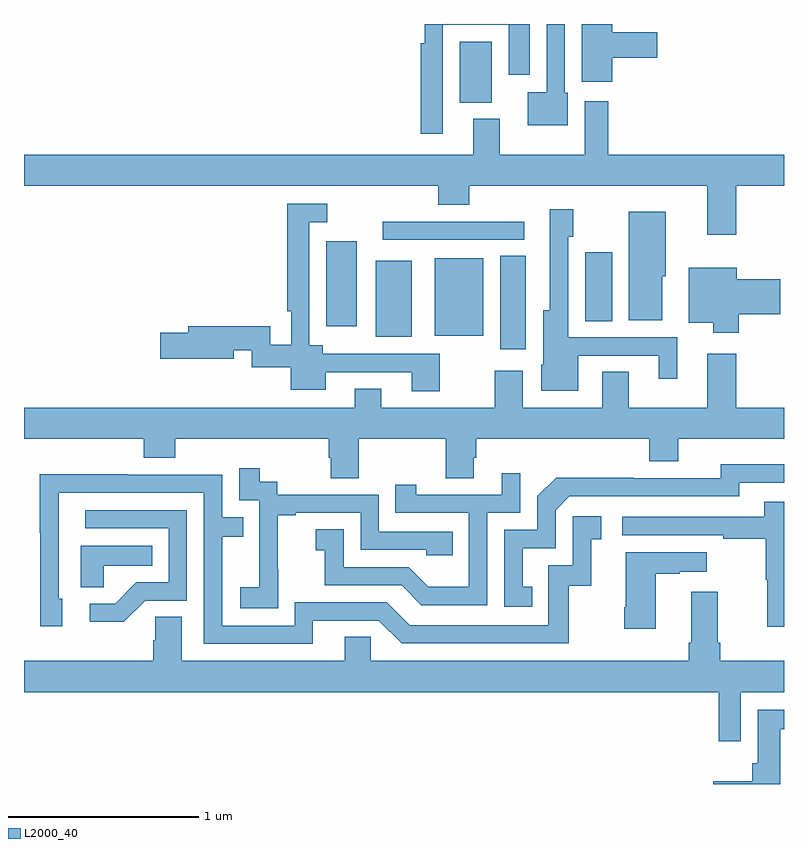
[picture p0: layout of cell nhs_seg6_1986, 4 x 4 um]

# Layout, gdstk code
import gdstk
lib = gdstk.Library(unit=1e-6, precision=1e-09)
def R(c, l, rs):  # rectangles x0, y0, x1, y1
    for r in rs: c.add(gdstk.rectangle(r[:2], r[2:], *l))
def P(c, l, *ps):  # polygons
    for p in ps: c.add(gdstk.Polygon(p, *l))
L2000_40 = (2000, 40)

nhs_seg6_1986 = lib.new_cell('nhs_seg6_1986')
R(nhs_seg6_1986, L2000_40, [(231.506,967.788,231.64,968.279), (230.852,967.853,231.04,968.254), (231.161,967.859,231.418,968.266), (230.591,967.908,230.752,968.356), (231.953,967.936,232.096,968.299), (230.889,968.364,231.634,968.46), (231.293,969.086,231.463,969.406)])
P(nhs_seg6_1986, L2000_40, [(231.862,969.138),(231.846,969.138),(231.846,969.5),(231.75,969.5),(231.75,969.142),(231.65,969.142),(231.65,968.966),(231.862,968.966)],
  [(232.097,969.323),(232.333,969.323),(232.333,969.457),(232.097,969.457),(232.097,969.5),(231.935,969.5),(231.935,969.195),(232.097,969.195)],
  [(231.204,969.495),(231.551,969.495),(231.551,969.234),(231.661,969.234),(231.661,969.5),(231.108,969.5),(231.108,969.398),(231.088,969.398),(231.088,968.922),(231.204,968.922)],
  [(232.748,968.648),(233,968.648),(233,968.812),(232.076,968.812),(232.076,969.094),(231.95,969.094),(231.95,968.812),(231.505,968.812),(231.505,969.001),(231.365,969.001),(231.365,968.812),(229,968.812),(229,968.648),(231.179,968.648),(231.179,968.549),(231.344,968.549),(231.344,968.648),(232.595,968.648),(232.595,968.391),(232.748,968.391)],
  [(231.189,967.764),(230.572,967.764),(230.572,967.81),(230.502,967.81),(230.502,968.457),(230.596,968.457),(230.596,968.553),(230.386,968.553),(230.386,967.988),(230.406,967.988),(230.406,967.811),(230.295,967.811),(230.295,967.91),(229.865,967.91),(229.865,967.874),(229.716,967.874),(229.716,967.739),(230.104,967.739),(230.104,967.782),(230.199,967.782),(230.199,967.694),(230.405,967.694),(230.405,967.574),(230.587,967.574),(230.587,967.668),(231.041,967.668),(231.041,967.566),(231.189,967.566)],
  [(231.916,967.755),(232.34,967.755),(232.34,967.632),(232.438,967.632),(232.438,967.851),(231.864,967.851),(231.864,968.379),(231.891,968.379),(231.891,968.524),(231.768,968.524),(231.768,967.993),(231.734,967.993),(231.734,967.707),(231.722,967.707),(231.722,967.571),(231.916,967.571)],
  [(232.36,968.172),(232.378,968.172),(232.378,968.512),(232.184,968.512),(232.184,967.94),(232.36,967.94)],
  [(232.763,967.973),(232.981,967.973),(232.981,968.156),(232.75,968.156),(232.75,968.218),(232.499,968.218),(232.499,967.928),(232.628,967.928),(232.628,967.874),(232.763,967.874)],
  [(230.763,967.316),(231.22,967.316),(231.22,967.108),(231.367,967.108),(231.367,967.218),(231.38,967.218),(231.38,967.316),(232.292,967.316),(232.292,967.199),(232.444,967.199),(232.444,967.316),(233,967.316),(233,967.48),(232.748,967.48),(232.748,967.765),(232.595,967.765),(232.595,967.48),(232.183,967.48),(232.183,967.67),(232.043,967.67),(232.043,967.48),(231.625,967.48),(231.625,967.675),(231.478,967.675),(231.478,967.48),(230.881,967.48),(230.881,967.579),(230.741,967.579),(230.741,967.48),(229,967.48),(229,967.316),(229.631,967.316),(229.631,967.217),(229.796,967.217),(229.796,967.316),(230.603,967.316),(230.603,967.218),(230.615,967.218),(230.615,967.108),(230.763,967.108)],
  [(231.674,966.537),(231.625,966.537),(231.625,966.741),(231.798,966.741),(231.798,966.942),(231.87,967.014),(232.764,967.014),(232.764,967.086),(233,967.086),(233,967.183),(232.668,967.183),(232.668,967.11),(232.208,967.11),(232.208,967.112),(231.8,967.112),(231.702,967.014),(231.702,966.837),(231.528,966.837),(231.528,966.432),(231.674,966.432)],
  [(230.337,966.631),(230.336,966.631),(230.336,966.915),(230.431,966.915),(230.431,966.927),(230.772,966.927),(230.772,966.732),(231.117,966.732),(231.117,966.705),(231.257,966.705),(231.257,966.828),(230.868,966.828),(230.868,967.023),(230.334,967.023),(230.334,967.092),(230.242,967.092),(230.242,967.162),(230.133,967.162),(230.133,966.993),(230.238,966.993),(230.238,966.764),(230.237,966.764),(230.237,966.535),(230.139,966.535),(230.139,966.425),(230.337,966.425)],
  [(231.438,966.927),(231.612,966.927),(231.612,967.135),(231.515,967.135),(231.515,967.023),(231.064,967.023),(231.064,967.075),(230.953,967.075),(230.953,966.927),(231.342,966.927),(231.342,966.538),(231.128,966.538),(231.024,966.642),(230.682,966.642),(230.682,966.841),(230.535,966.841),(230.535,966.731),(230.584,966.731),(230.584,966.546),(230.987,966.546),(231.092,966.441),(231.438,966.441)],
  [(230.521,966.36),(230.868,966.36),(230.988,966.24),(231.868,966.24),(231.868,966.543),(231.986,966.543),(231.986,966.789),(232.039,966.789),(232.039,966.91),(231.888,966.91),(231.888,966.651),(231.759,966.651),(231.759,966.336),(231.03,966.336),(230.91,966.456),(230.424,966.456),(230.424,966.333),(230.043,966.333),(230.043,966.802),(230.153,966.802),(230.153,966.903),(230.043,966.903),(230.043,967.128),(229.547,967.128),(229.547,967.13),(229.084,967.13),(229.084,966.823),(229.086,966.823),(229.086,966.33),(229.201,966.33),(229.201,966.474),(229.182,966.474),(229.182,967.032),(229.947,967.032),(229.947,966.237),(230.521,966.237)],
  [(233,966.985),(232.897,966.985),(232.897,966.906),(232.149,966.906),(232.149,966.81),(232.681,966.81),(232.681,966.79),(232.905,966.79),(232.905,966.576),(232.912,966.576),(232.912,966.327),(233,966.327)],
  [(229.638,966.465),(229.857,966.465),(229.857,966.942),(229.323,966.942),(229.323,966.846),(229.761,966.846),(229.761,966.561),(229.592,966.561),(229.481,966.45),(229.347,966.45),(229.347,966.353),(229.525,966.353)],
  [(229.419,966.65),(229.676,966.65),(229.676,966.754),(229.298,966.754),(229.298,966.535),(229.419,966.535)],
  [(232.324,966.607),(232.451,966.607),(232.451,966.617),(232.594,966.617),(232.594,966.721),(232.166,966.721),(232.166,966.43),(232.159,966.43),(232.159,966.318),(232.324,966.318)],
  [(232.773,965.984),(233,965.984),(233,966.148),(232.664,966.148),(232.664,966.244),(232.651,966.244),(232.651,966.511),(232.511,966.511),(232.511,966.244),(232.499,966.244),(232.499,966.148),(230.826,966.148),(230.826,966.275),(230.687,966.275),(230.687,966.148),(229.831,966.148),(229.831,966.38),(229.692,966.38),(229.692,966.257),(229.679,966.257),(229.679,966.148),(229,966.148),(229,965.984),(232.657,965.984),(232.657,965.724),(232.773,965.724)],
  [(232.981,965.789),(233,965.789),(233,965.89),(232.862,965.89),(232.862,965.61),(232.832,965.61),(232.832,965.515),(232.628,965.515),(232.628,965.5),(232.981,965.5)])

lib.write_gds('nhs_seg6_1986.gds')
